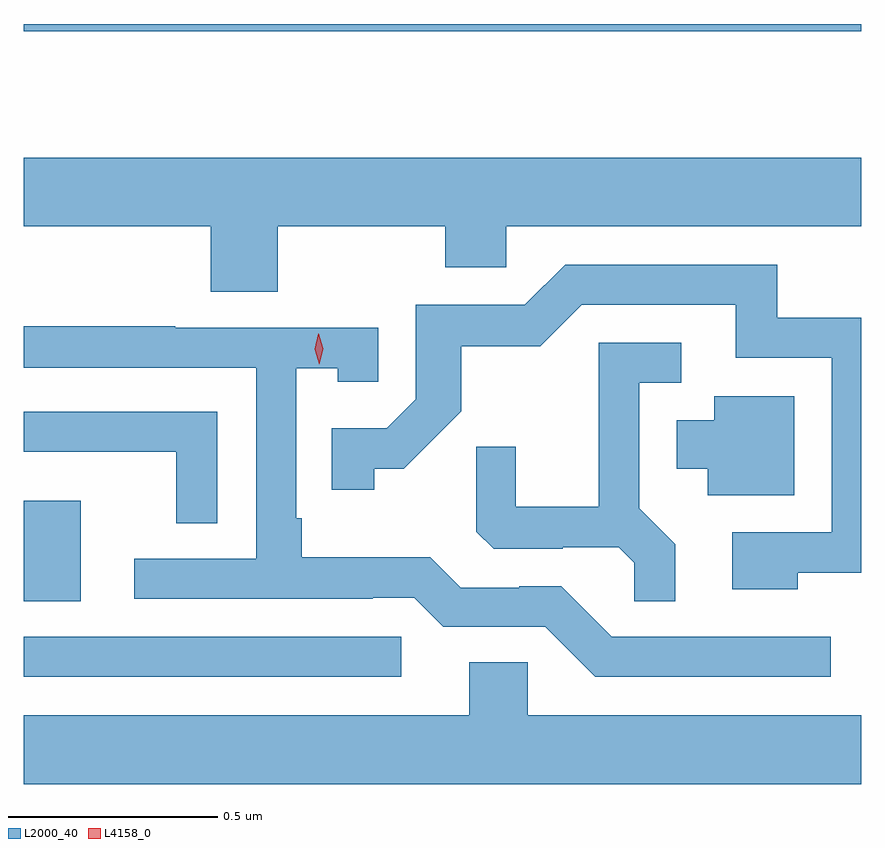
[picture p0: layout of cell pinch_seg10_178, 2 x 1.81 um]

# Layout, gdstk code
import gdstk
lib = gdstk.Library(unit=1e-6, precision=1e-09)
def R(c, l, rs):  # rectangles x0, y0, x1, y1
    for r in rs: c.add(gdstk.rectangle(r[:2], r[2:], *l))
def P(c, l, *ps):  # polygons
    for p in ps: c.add(gdstk.Polygon(p, *l))
L2000_40 = (2000, 40)
L4158_0 = (4158, 0)

pinch_seg10_178 = lib.new_cell('pinch_seg10_178')
R(pinch_seg10_178, L2000_40, [(671.847,1265.94,672.748,1266.036), (671.847,1266.121,671.983,1266.36), (671.847,1267.482,673.847,1267.499)])
P(pinch_seg10_178, L2000_40, [(672.453,1267.016),(672.853,1267.016),(672.853,1266.918),(672.999,1266.918),(672.999,1267.016),(673.847,1267.016),(673.847,1267.18),(671.847,1267.18),(671.847,1267.016),(672.293,1267.016),(672.293,1266.859),(672.453,1266.859)],
  [(673.695,1266.189),(673.847,1266.189),(673.847,1266.798),(673.646,1266.798),(673.646,1266.924),(673.14,1266.924),(673.044,1266.828),(672.783,1266.828),(672.783,1266.603),(672.714,1266.534),(672.583,1266.534),(672.583,1266.387),(672.684,1266.387),(672.684,1266.437),(672.754,1266.437),(672.892,1266.574),(672.892,1266.73),(673.081,1266.73),(673.179,1266.828),(673.547,1266.828),(673.547,1266.702),(673.776,1266.702),(673.776,1266.285),(673.539,1266.285),(673.539,1266.149),(673.695,1266.149)],
  [(673.774,1266.036),(673.251,1266.036),(673.131,1266.156),(673.03,1266.156),(673.03,1266.153),(672.891,1266.153),(672.818,1266.226),(672.511,1266.226),(672.511,1266.319),(672.498,1266.319),(672.498,1266.677),(672.597,1266.677),(672.597,1266.645),(672.693,1266.645),(672.693,1266.774),(672.209,1266.774),(672.209,1266.777),(671.847,1266.777),(671.847,1266.678),(672.402,1266.678),(672.402,1266.222),(672.111,1266.222),(672.111,1266.126),(672.68,1266.126),(672.68,1266.129),(672.78,1266.129),(672.849,1266.06),(673.092,1266.06),(673.212,1265.94),(673.774,1265.94)],
  [(673.403,1266.257),(673.317,1266.343),(673.317,1266.642),(673.417,1266.642),(673.417,1266.738),(673.22,1266.738),(673.22,1266.346),(673.022,1266.346),(673.022,1266.489),(672.928,1266.489),(672.928,1266.287),(672.969,1266.246),(673.134,1266.246),(673.134,1266.249),(673.268,1266.249),(673.305,1266.212),(673.305,1266.121),(673.403,1266.121)],
  [(673.687,1266.61),(673.496,1266.61),(673.496,1266.553),(673.406,1266.553),(673.406,1266.437),(673.481,1266.437),(673.481,1266.374),(673.687,1266.374)],
  [(672.309,1266.573),(671.847,1266.573),(671.847,1266.477),(672.211,1266.477),(672.211,1266.307),(672.309,1266.307)],
  [(673.847,1265.848),(673.05,1265.848),(673.05,1265.975),(672.911,1265.975),(672.911,1265.848),(671.847,1265.848),(671.847,1265.684),(673.847,1265.684)])
P(pinch_seg10_178, L4158_0, [(672.553,1266.686),(672.553,1266.687),(672.542,1266.722),(672.55,1266.759),(672.55,1266.759),(672.551,1266.759),(672.562,1266.723),(672.553,1266.687)])

lib.write_gds('pinch_seg10_178.gds')
